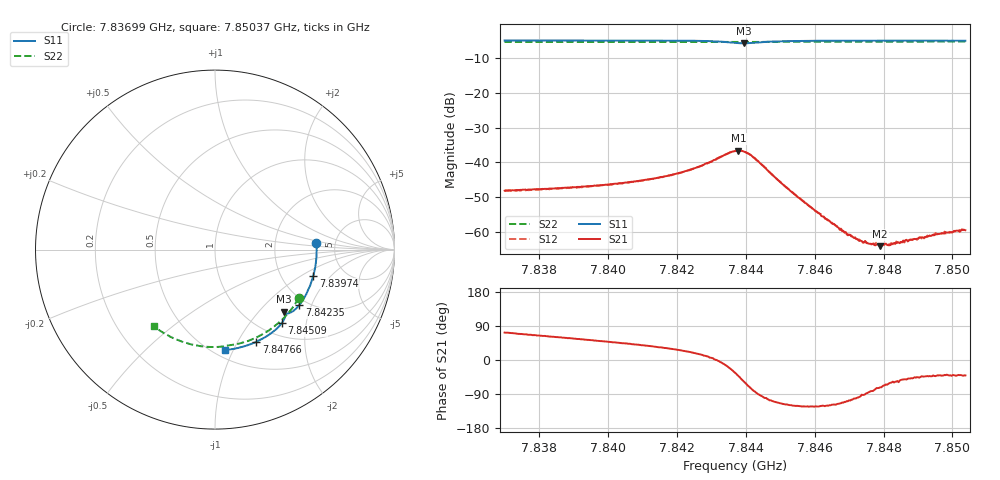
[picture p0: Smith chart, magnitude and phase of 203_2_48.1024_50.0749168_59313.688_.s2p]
#  HZ  S  RI  R  50.00
! Rohde & Schwarz Vector Network Analyzer
! Rohde-Schwarz,ZNB20-2Port,1311601062101988,3.16
! Created: UTC 12/23/2023, 3:54:59 AM
! freq[Hz]  re:S11  im:S11  re:S21  im:S21  re:S12  im:S12  re:S22  im:S22
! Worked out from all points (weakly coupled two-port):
!   401 points, 7.83699 GHz to 7.85037 GHz, reference 50 ohm
!   highest |S21| = -36.57 dB at 7.84378 GHz (marker M1); lowest = -64.1 dB at 7.8479 GHz (marker M2)
!   lowest |S11| = -5.7 dB at 7.84395 GHz (marker M3), VSWR 3.13, Z = 73.2 - j69.1 ohm
!   |S11| at or under -10 dB: nowhere
!   |S22| runs from -5.4 to -5.3 dB; largest |S21 - S12| = 0.00034
!   S11 on the Smith chart (normalised r, x): 7.83699 GHz: 3.57, +0.38; 7.83974 GHz: 3.01, -1.29; 7.84235 GHz: 1.82, -1.64; 7.84509 GHz: 1.24, -1.46; 7.84766 GHz: 0.80, -1.20; 7.85037 GHz: 0.57, -0.93
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7.836994e9  0.565 0.0363  0.00119 0.00374  0.00124 0.00371  0.4673 -0.2696
7.839236e9  0.5556 -0.1123  0.0026 0.00367  0.00255 0.00358  0.3709 -0.3929
7.839737e9  0.5479 -0.1451  0.003 0.00359  0.00294 0.0036  0.3445 -0.4163
7.841477e9  0.5045 -0.2555  0.00505 0.00336  0.005 0.00337  0.243 -0.4837
7.842346e9  0.4705 -0.3081  0.00721 0.00284  0.00714 0.00286  0.187 -0.5079
7.843216e9  0.4191 -0.3518  0.0118 -0.000594  0.0116 -0.000589  0.1282 -0.5251
7.843684e9  0.3863 -0.3534  0.0122 -0.00805  0.0123 -0.0079  0.0969 -0.5303
7.843785e9  0.3829 -0.3501  0.011 -0.00999  0.0109 -0.0099  0.0905 -0.5313
7.843952e9  0.3827 -0.3462  0.00755 -0.0121  0.00757 -0.012  0.0799 -0.533
7.844253e9  0.3902 -0.3527  0.00146 -0.0115  0.00142 -0.0114  0.0606 -0.5368
7.845089e9  0.374 -0.4074  -0.0021 -0.00427  -0.00212 -0.00424  0.0022 -0.5427
7.845926e9  0.3322 -0.4509  -0.00117 -0.00184  -0.0012 -0.00184  -0.0568 -0.5405
7.846929e9  0.2752 -0.4903  -0.000302 -0.000892  -0.000334 -0.000859  -0.1265 -0.5294
7.847364e9  0.2493 -0.5045  -2.13e-05 -0.000741  -5.08e-05 -0.000754  -0.1559 -0.5217
7.847665e9  0.231 -0.5132  9.4e-05 -0.000664  9.63e-05 -0.000662  -0.1762 -0.5156
7.847765e9  0.2249 -0.516  0.00015 -0.000625  0.000123 -0.000676  -0.1829 -0.5131
7.847899e9  0.2166 -0.5194  0.000192 -0.000596  0.000231 -0.000628  -0.1917 -0.5101
7.847999e9  0.2103 -0.5222  0.000261 -0.000625  0.000229 -0.000607  -0.1983 -0.5076
7.848167e9  0.1999 -0.5262  0.000313 -0.000565  0.000327 -0.000575  -0.2092 -0.5033
7.84917e9  0.1358 -0.5462  0.000597 -0.000572  0.000582 -0.000564  -0.2725 -0.4726
7.849572e9  0.1098 -0.5519  0.00071 -0.000604  0.000673 -0.000646  -0.2965 -0.4581
7.850374e9  0.057 -0.5594  0.000805 -0.000692  0.00077 -0.00072  -0.3424 -0.4255
